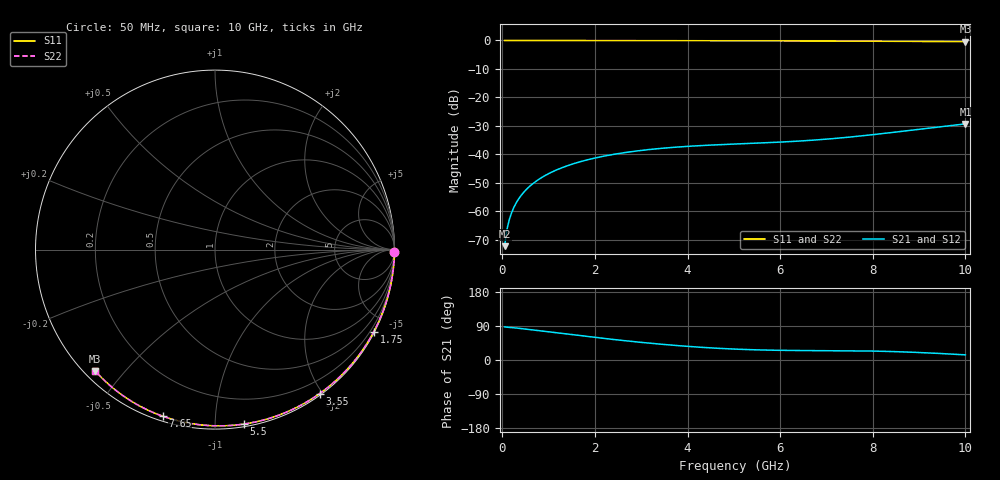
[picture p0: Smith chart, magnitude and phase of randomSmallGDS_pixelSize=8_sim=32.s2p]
! freq	dB(S11)	phase(S11)	dB(S12)	phase(S12)
!  dB(S21)	phase(S21)	dB(S22)	phase(S22)
!S-par simulation data
#  GHz  S  DB  R 50
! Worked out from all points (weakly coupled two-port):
!   200 points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, 50 MHz to 10 GHz, reference 50 ohm
!   highest |S21| = -29.28 dB at 10 GHz (marker M1); lowest = -72.2 dB at 50 MHz (marker M2)
!   lowest |S11| = -0.4 dB at 10 GHz (marker M3), VSWR 39.07, Z = 1.5 - j20.9 ohm
!   |S11| at or under -10 dB: nowhere
!   |S22| runs from -0.4 to 0.0 dB; largest |S21 - S12| = 0
!   S11 on the Smith chart (normalised r, x): 50 MHz: open; 1.75 GHz: 0.04, -4.12; 3.55 GHz: 0.02, -1.96; 5.5 GHz: 0.02, -1.18; 7.65 GHz: 0.02, -0.73; 10 GHz: 0.03, -0.42
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0.05  -0.00 -0.8  -72.20 87.3  -72.20 87.3  -0.00 -0.8
0.1  -0.00 -1.6  -66.38 86.6  -66.38 86.6  -0.00 -1.6
0.15  -0.00 -2.4  -62.95 86.2  -62.95 86.2  -0.00 -2.4
0.2  -0.00 -3.2  -60.50 85.7  -60.50 85.7  -0.00 -3.2
0.25  -0.00 -4.0  -58.58 85.1  -58.58 85.1  -0.00 -4.0
0.35  -0.00 -5.5  -55.69 83.8  -55.69 83.8  -0.00 -5.5
0.5  -0.01 -7.9  -52.63 81.7  -52.63 81.7  -0.01 -7.9
0.7  -0.01 -11.0  -49.75 78.7  -49.75 78.7  -0.01 -11.0
1  -0.02 -15.7  -46.75 74.2  -46.75 74.2  -0.02 -15.7
1.35  -0.03 -21.1  -44.29 69.0  -44.29 69.0  -0.03 -21.1
1.75  -0.03 -27.3  -42.26 63.1  -42.26 63.1  -0.03 -27.3
2.5  -0.05 -38.6  -39.72 52.8  -39.72 52.8  -0.05 -38.6
3.4  -0.07 -51.8  -37.92 42.0  -37.92 42.0  -0.07 -51.8
3.55  -0.07 -53.9  -37.70 40.4  -37.70 40.4  -0.07 -54.0
4.3  -0.09 -64.5  -36.89 33.5  -36.89 33.5  -0.09 -64.5
5.05  -0.11 -74.7  -36.33 28.6  -36.33 28.6  -0.11 -74.7
5.5  -0.13 -80.6  -36.04 26.7  -36.04 26.7  -0.13 -80.7
6.7  -0.18 -95.9  -35.01 24.9  -35.01 24.9  -0.18 -95.9
7.65  -0.24 -107.4  -33.67 24.2  -33.67 24.2  -0.24 -107.5
8.35  -0.29 -115.7  -32.43 22.6  -32.43 22.6  -0.29 -115.7
9.2  -0.36 -125.5  -30.80 18.7  -30.80 18.7  -0.36 -125.5
10  -0.44 -134.6  -29.28 13.6  -29.28 13.6  -0.44 -134.6
